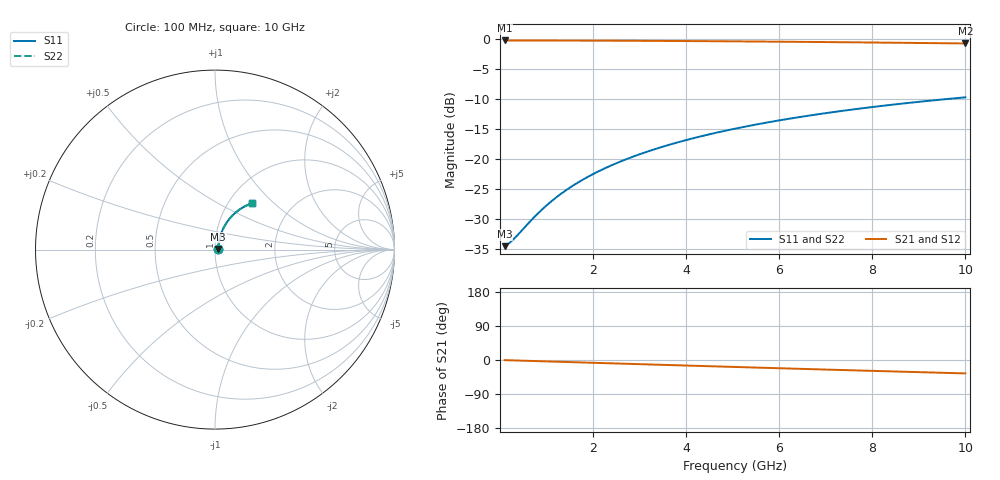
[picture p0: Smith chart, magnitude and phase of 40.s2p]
# Hz S RI R 50.00
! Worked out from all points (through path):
!   100 points, 100 MHz to 10 GHz, reference 50 ohm
!   highest |S21| = -0.16 dB at 100 MHz (marker M1); lowest = -0.7 dB at 10 GHz (marker M2)
!   group delay of S21, straight-line fit = 9.85 ps
!   lowest |S11| = -34.6 dB at 100 MHz (marker M3), VSWR 1.04, Z = 51.9 + j0.366 ohm
!   |S11| at or under -10 dB: start of sweep to 9.546 GHz
!   |S22| runs from -34.6 to -9.7 dB; largest |S21 - S12| = 0
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1e8  0.0184 0.00352  0.9816 -0.0063  0.9816 -0.0063  0.0184 0.00352
2e8  0.0186 0.00704  0.9814 -0.0126  0.9814 -0.0126  0.0186 0.00704
3e8  0.0188 0.0106  0.9812 -0.0189  0.9812 -0.0189  0.0188 0.0106
8e8  0.0203 0.0281  0.9794 -0.0503  0.9794 -0.0503  0.0203 0.0281
9e8  0.0207 0.0316  0.979 -0.0566  0.979 -0.0566  0.0207 0.0316
1.1e9  0.0217 0.0385  0.9778 -0.0691  0.9778 -0.0691  0.0217 0.0385
1.4e9  0.0235 0.0489  0.9757 -0.0878  0.9757 -0.0878  0.0235 0.0489
1.6e9  0.0249 0.0558  0.9741 -0.1002  0.9741 -0.1002  0.0249 0.0558
1.8e9  0.0264 0.0626  0.9723 -0.1126  0.9723 -0.1126  0.0264 0.0626
2.1e9  0.0291 0.0728  0.9691 -0.1311  0.9691 -0.1311  0.0291 0.0728
2.5e9  0.0333 0.0861  0.9642 -0.1556  0.9642 -0.1556  0.0333 0.0861
2.9e9  0.0381 0.0992  0.9586 -0.1798  0.9586 -0.1798  0.0381 0.0992
3.4e9  0.045 0.1151  0.9504 -0.2096  0.9504 -0.2096  0.045 0.1151
3.8e9  0.0512 0.1275  0.9431 -0.2331  0.9431 -0.2331  0.0512 0.1275
4.2e9  0.058 0.1394  0.935 -0.2562  0.935 -0.2562  0.058 0.1394
4.6e9  0.0654 0.151  0.9262 -0.2789  0.9262 -0.2789  0.0654 0.151
5.1e9  0.0754 0.1649  0.9143 -0.3067  0.9143 -0.3067  0.0754 0.1649
5.9e9  0.0929 0.1855  0.8933 -0.3497  0.8933 -0.3497  0.0929 0.1855
6.7e9  0.1122 0.2041  0.87 -0.3906  0.87 -0.3906  0.1122 0.2041
7.5e9  0.1329 0.2205  0.8446 -0.4295  0.8446 -0.4295  0.1329 0.2205
8.4e9  0.1577 0.2363  0.8141 -0.4705  0.8141 -0.4705  0.1577 0.2363
1e10  0.2043 0.2571  0.7553 -0.5363  0.7553 -0.5363  0.2043 0.2571
